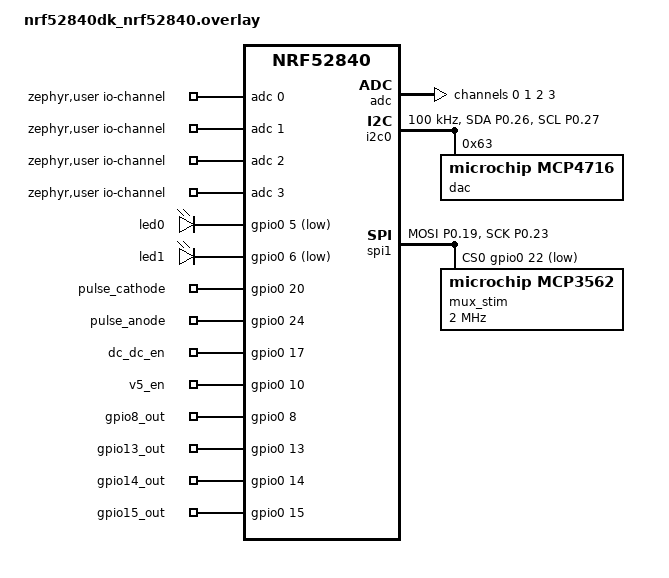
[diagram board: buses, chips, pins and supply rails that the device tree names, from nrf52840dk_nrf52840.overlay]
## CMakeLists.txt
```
# SPDX-License-Identifier: Apache-2.0

cmake_minimum_required(VERSION 3.20.0)

find_package(Zephyr REQUIRED HINTS $ENV{ZEPHYR_BASE})
project(Celavci)

FILE(GLOB app_sources src/*.c)
target_sources(app PRIVATE
  ${app_sources}
  )

# Dodaj include/ kao folder sa header fajlovima
target_include_directories(app PRIVATE include/)

zephyr_library_include_directories(${ZEPHYR_BASE}/samples/bluetooth)
```

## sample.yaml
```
sample:
  description: TBD
  name: TBD
tests:
  sample.bluetooth.peripheral_hr:
    harness: bluetooth
    platform_allow: qemu_cortex_m3 qemu_x86
    tags: bluetooth
  sample.bluetooth.peripheral_hr_rv32m1_vega_ri5cy:
    platform_allow: rv32m1_vega_ri5cy
    tags: bluetooth
    build_only: true
  sample.bluetooth.peripheral_hr.frdm_kw41z_shield:
    harness: bluetooth
    depends_on: arduino_serial
    tags: bluetooth
    extra_args: SHIELD=frdm_kw41z
```

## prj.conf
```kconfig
# ----------------------
# Bluetooth core support
# ----------------------
CONFIG_BT=y
CONFIG_BT_PERIPHERAL=y
CONFIG_BT_SMP=y

# ----------------------
# Bluetooth GATT services
# ----------------------
CONFIG_BT_NUS=y
CONFIG_BT_DIS=y
CONFIG_BT_DIS_PNP=n
CONFIG_BT_BAS=y
CONFIG_BT_HRS=y

CONFIG_ADC=y

# ----------------------
# Device information
# ----------------------
CONFIG_BT_DEVICE_NAME="BALDHEAD ZAPPER 5000"
CONFIG_BT_DEVICE_APPEARANCE=833

# ----------------------
# Bluetooth performance tuning
# ----------------------

# Maksimalni broj konekcija
CONFIG_BT_MAX_CONN=1

# Veći MTU za efikasniji prenos
CONFIG_BT_L2CAP_TX_MTU=247

# Veličina ACL buffer-a mora biti veća od MTU + 4
CONFIG_BT_BUF_ACL_TX_SIZE=251

# Broj TX buffera
CONFIG_BT_BUF_ACL_TX_COUNT=10

# Omogući GATT server/klijent
CONFIG_BT_GATT_CLIENT=y

# Omogući Data Length Extension
CONFIG_BT_USER_DATA_LEN_UPDATE=y

# Omogući PHY update (npr. 2M PHY ako je podržan)
CONFIG_BT_USER_PHY_UPDATE=y

# ----------------------
# Peripherals and drivers
# ----------------------
CONFIG_GPIO=y
CONFIG_I2C=y
CONFIG_SPI=y
CONFIG_ADC=n
CONFIG_NRFX_SAADC=y

CONFIG_FUEL_GAUGE=y
CONFIG_BQ274XX=y
CONFIG_SENSOR=y



# ----------------------
# Clock config (low-frequency)
# ----------------------
CONFIG_CLOCK_CONTROL_NRF_K32SRC_RC=y

# ----------------------
# Logging
# ----------------------
CONFIG_LOG=y
CONFIG_LOG_MODE_DEFERRED=y
CONFIG_LOG_BACKEND_RTT=y
CONFIG_USE_SEGGER_RTT=y
CONFIG_FATAL_ERROR_LOG_LEVEL_DBG=y


# Loging
CONFIG_LOG=y
CONFIG_LOG_DEFAULT_LEVEL=3        
CONFIG_LOG_MODE_DEFERRED=y      

# RTT backend
CONFIG_USE_SEGGER_RTT=y
CONFIG_LOG_BACKEND_RTT=y
CONFIG_RTT_CONSOLE=y
CONFIG_LOG_PRINTK=y              
CONFIG_CBPRINTF_FP_SUPPORT=y      

# (opciono: veći bafer da ne gubiš poruke)
CONFIG_SEGGER_RTT_BUFFER_SIZE_UP=16384
CONFIG_SEGGER_RTT_BUFFER_SIZE_DOWN=32


# ----------------------
# Disable UART (koristimo RTT)
# ----------------------
CONFIG_SERIAL=n
CONFIG_CONSOLE=n
CONFIG_UART_CONSOLE=n

# ----------------------
# Bootloader settings
# ----------------------
CONFIG_BOOTLOADER_MCUBOOT=y
# STEP 2.2 - Enable FOTA over Bluetooth LE
CONFIG_NCS_SAMPLE_MCUMGR_BT_OTA_DFU=y

# CONFIG_RETAINED_MEM=y
# CONFIG_ZCBOR=y
# CONFIG_MCUMGR=y
# Više threadova + debag info
CONFIG_MULTITHREADING=y
CONFIG_THREAD_STACK_INFO=y
CONFIG_THREAD_MONITOR=y
CONFIG_MAIN_THREAD_PRIORITY=1        

# Daj dovoljno preemptivnih prioriteta
CONFIG_NUM_PREEMPT_PRIORITIES=15


# Time-slicing da niko ne može da "pojede" CPU
CONFIG_TIMESLICING=y
CONFIG_ASSERT=y

CONFIG_MAIN_STACK_SIZE=2048
CONFIG_SYSTEM_WORKQUEUE_STACK_SIZE=2048
CONFIG_IDLE_STACK_SIZE=512
CONFIG_NRFX_TIMER2=y
CONFIG_NRFX_TIMER3=y
CONFIG_NRFX_GPPI=y        

CONFIG_PWM=y

CONFIG_PWM_NRFX=y
```

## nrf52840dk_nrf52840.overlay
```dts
#include <nordic/nrf52840_qiaa.dtsi>

/ {
    compatible = "nordic,nrf52840-dk-nrf52840";

    chosen {
        zephyr,console = &uart0;
        zephyr,shell-uart = &uart0;
    };

    zephyr,user {
        io-channels = <&adc 0>, <&adc 1>, <&adc 2>, <&adc 3>;
    };

    leds {
        compatible = "gpio-leds";
        led0: led_0 {
            gpios = <&gpio0 5 GPIO_ACTIVE_LOW>;
        };
        led1: led_1 {
            gpios = <&gpio0 6 GPIO_ACTIVE_LOW>;
        };
    };

    custom_gpio_out {
        compatible = "gpio-keys";  // Ako Zephyr ne očekuje output GPIO ovde, koristi kasnije u kodu ručno
        pulse_cathode: pulse_cathode {
            gpios = <&gpio0 20 GPIO_ACTIVE_HIGH>;
        };
        pulse_anode: pulse_anode {
            gpios = <&gpio0 24 GPIO_ACTIVE_HIGH>;
        };
        dc_dc_en: dc_dc_en {
            gpios = <&gpio0 17 GPIO_ACTIVE_HIGH>;
        };
        v5_en: v5_en {
            gpios = <&gpio0 10 GPIO_ACTIVE_HIGH>;
        };
        gpio8_out: gpio8_out {
            gpios = <&gpio0 8 GPIO_ACTIVE_HIGH>;
        };
        gpio13_out: gpio13_out {
            gpios = <&gpio0 13 GPIO_ACTIVE_HIGH>;
        };
        gpio14_out: gpio14_out {
            gpios = <&gpio0 14 GPIO_ACTIVE_HIGH>;
        };
        gpio15_out: gpio15_out {
            gpios = <&gpio0 15 GPIO_ACTIVE_HIGH>;
        };
    };

    aliases {
        led0 = &led0;
        led1 = &led1;
        pulse-cathode = &pulse_cathode;
        pulse-anode = &pulse_anode;
        dc-dc-en = &dc_dc_en;
        v5-en = &v5_en;

        gpio8-out = &gpio8_out;
        gpio13-out = &gpio13_out;
        gpio14-out = &gpio14_out;
        gpio15-out = &gpio15_out;

        i2c0 = &i2c0;
    };
};

&adc {
    status = "okay";
    #address-cells = <1>;
    #size-cells = <0>;

    channel@0 {
        reg = <0>;
        zephyr,gain = "ADC_GAIN_1_6";
        zephyr,reference = "ADC_REF_INTERNAL";
        zephyr,acquisition-time = <ADC_ACQ_TIME_DEFAULT>;
        zephyr,input-positive = <NRF_SAADC_AIN0>;  // P0.02
        zephyr,resolution = <12>;
    };

    channel@1 {
        reg = <1>;
        zephyr,gain = "ADC_GAIN_1_6";
        zephyr,reference = "ADC_REF_INTERNAL";
        zephyr,acquisition-time = <ADC_ACQ_TIME_DEFAULT>;
        zephyr,input-positive = <NRF_SAADC_AIN2>;  // P0.04
        zephyr,resolution = <12>;
    };

    channel@2 {
        reg = <2>;
        zephyr,gain = "ADC_GAIN_1_6";
        zephyr,reference = "ADC_REF_INTERNAL";
        zephyr,acquisition-time = <ADC_ACQ_TIME_DEFAULT>;
        zephyr,input-positive = <NRF_SAADC_AIN5>;  // P0.29
        zephyr,resolution = <12>;
    };

    channel@3 {
        reg = <3>;
        zephyr,gain = "ADC_GAIN_1_6";
        zephyr,reference = "ADC_REF_INTERNAL";
        zephyr,acquisition-time = <ADC_ACQ_TIME_DEFAULT>;
        zephyr,input-positive = <NRF_SAADC_AIN7>;  // P0.31
        zephyr,resolution = <12>;
    };
};

&pinctrl {
    i2c0_default: i2c0_default {
        group1 {
            psels = <NRF_PSEL(TWIM_SDA, 0, 26)>,
                    <NRF_PSEL(TWIM_SCL, 0, 27)>;
        };
    };

    i2c0_sleep: i2c0_sleep {
        group1 {
            psels = <NRF_PSEL(TWIM_SDA, 0, 26)>,
                    <NRF_PSEL(TWIM_SCL, 0, 27)>;
            low-power-enable;
        };
    };

    spi1_default: spi1_default {
        group1 {
            psels = <NRF_PSEL(SPIM_MOSI, 0, 19)>,
                    <NRF_PSEL(SPIM_SCK, 0, 23)>;
        };
    };

    spi1_sleep: spi1_sleep {
        group1 {
            psels = <NRF_PSEL(SPIM_MOSI, 0, 19)>,
                    <NRF_PSEL(SPIM_SCK, 0, 23)>;
            low-power-enable;
        };
    };
};

&i2c0 {
    compatible = "nordic,nrf-twim";
    status = "okay";
    pinctrl-0 = <&i2c0_default>;
    pinctrl-1 = <&i2c0_sleep>;
    pinctrl-names = "default", "sleep";
    clock-frequency = <I2C_BITRATE_STANDARD>;

    dac@63 {
        compatible = "microchip,mcp4716";
        reg = <0x63>;
        status = "okay";
        #io-channel-cells = <1>;
    };
    
};


/* MULTIPLEXER */
&spi1 {
    compatible = "nordic,nrf-spim";
    status = "okay";
    pinctrl-0 = <&spi1_default>;
    pinctrl-1 = <&spi1_sleep>;
    pinctrl-names = "default", "sleep";
    cs-gpios = <&gpio0 22 GPIO_ACTIVE_LOW>;
    mux_stim: hv2607@0 {
        compatible = "microchip,mcp3562";
        reg = <0>;
        spi-max-frequency = <2000000>;
    };
};

&gpio0 {
    status = "okay";
};

&gpiote {
    status = "okay";
};
```

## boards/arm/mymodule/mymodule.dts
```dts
// Copyright (c) 2023 Nordic Semiconductor ASA
// SPDX-License-Identifier: Apache-2.0

/dts-v1/;
#include <nordic/nrf52840_qiaa.dtsi>

/ {
    model = "myModule";
    compatible = "mymodules";

    chosen {
        zephyr,sram = &sram0;
        zephyr,flash = &flash0;
        zephyr,code-partition = &slot0_partition;
    };

    leds {
        compatible = "gpio-leds";
        led_green: led_green { gpios = <&gpio0  2 GPIO_ACTIVE_LOW>; };
        led_blue:  led_blue  { gpios = <&gpio0  3 GPIO_ACTIVE_LOW>; };
        led_red:   led_red   { gpios = <&gpio0 30 GPIO_ACTIVE_LOW>; };
        led3: led_3 { status = "disabled"; };
    };

    /* Ostali korisni izlazi (kao GPIO reference za kod) */
    custom_gpio_out {
        compatible = "gpio-leds";  /* izlazi, ne 'gpio-keys' */
        pulse_cathode: pulse_cathode { gpios = <&gpio0  7 GPIO_ACTIVE_HIGH>; };
        pulse_anode:   pulse_anode   { gpios = <&gpio0 15 GPIO_ACTIVE_HIGH>; };
        dc_dc_en:      dc_dc_en      { gpios = <&gpio0  4 GPIO_ACTIVE_HIGH>; };

        /* PB_MCU (simulira pritisak tastera) i KILL ka LTC2950 */
        pb_mcu:        pb_mcu        { gpios = <&gpio0 29 GPIO_ACTIVE_LOW>; };
        kill_ltc2950:  kill          { gpios = <&gpio0  9 GPIO_ACTIVE_LOW>; };

        /* NAPOMENA: P0.28 je sada PWM (CH1), zato nema više 'buzz' kao GPIO ovde */
    };

    aliases {
        led0 = &led_green;
        led1 = &led_blue;
        led2 = &led_red;

        pulse-cathode = &pulse_cathode;
        pulse-anode   = &pulse_anode;
        dc-dc-en      = &dc_dc_en;

        pb-mcu = &pb_mcu;
        kill   = &kill_ltc2950;

        i2c0 = &i2c0;

        /* PWM kontroler i potrošač */
        pwm0 = &pwm0;
        buzzer-pwm = &pwm_buzzer;
    };

    /* Opcioni "beeper" potrošač vezan na PWM0/CH0 (P0.31) – default ~500 Hz */
    pwm_buzzer: buzzer {
        compatible = "pwm-beeper";
        pwms = <&pwm0 0 PWM_MSEC(2) PWM_POLARITY_NORMAL>; /* ~500 Hz */
        label = "BUZZER_PWM0";
    };
};

&pinctrl {
    i2c0_default: i2c0_default {
        group1 {
            psels = <NRF_PSEL(TWIM_SDA, 0, 26)>,
                    <NRF_PSEL(TWIM_SCL, 0, 27)>;
        };
    };

    i2c0_sleep: i2c0_sleep {
        group1 {
            psels = <NRF_PSEL(TWIM_SDA, 0, 26)>,
                    <NRF_PSEL(TWIM_SCL, 0, 27)>;
            low-power-enable;
        };
    };

    spi1_default: spi1_default {
        group1 {
            psels = <NRF_PSEL(SPIM_MOSI, 0, 6)>,
                    <NRF_PSEL(SPIM_SCK, 0, 8)>;
        };
    };

    spi1_sleep: spi1_sleep {
        group1 {
            psels = <NRF_PSEL(SPIM_MOSI, 0, 6)>,
                    <NRF_PSEL(SPIM_SCK, 0, 8)>;
            low-power-enable;
        };
    };

        /* PWM0: CH0 -> P0.31 (ostaje) */
    pwm0_default: pwm0_default {
        group1 { psels = <NRF_PSEL(PWM_OUT0, 0, 31)>; };
    };
    pwm0_sleep: pwm0_sleep {
        group1 {
            psels = <NRF_PSEL(PWM_OUT0, 0, 31)>;
            low-power-enable;
        };
    };

    /* NOVO: PWM1: CH0 -> P0.28 */
    pwm1_default: pwm1_default {
        group1 { psels = <NRF_PSEL(PWM_OUT0, 0, 28)>; };
    };
    pwm1_sleep: pwm1_sleep {
        group1 {
            psels = <NRF_PSEL(PWM_OUT0, 0, 28)>;
            low-power-enable;
        };
    };
};

&i2c0 {
    compatible = "nordic,nrf-twim";
    status = "okay";
    pinctrl-0 = <&i2c0_default>;
    pinctrl-1 = <&i2c0_sleep>;
    pinctrl-names = "default", "sleep";
    clock-frequency = <I2C_BITRATE_STANDARD>;

    dac@63 {
        compatible = "microchip,mcp4716";
        reg = <0x63>;
        status = "okay";
        #io-channel-cells = <1>;
    };

    fuelgauge: bq27220@55 {
        compatible = "ti,bq274xx";
        reg = <0x55>;
        status = "okay";
        design-voltage = <3700>;      /* mV */
        design-capacity = <2200>;     /* mAh */
        taper-current = <100>;        /* mA */
        terminate-voltage = <3200>;   /* mV */
    };
};

/* MULTIPLEXER (SPIM1 bez MISO) */
&spi1 {
    compatible = "nordic,nrf-spim";
    status = "okay";
    pinctrl-0 = <&spi1_default>;
    pinctrl-1 = <&spi1_sleep>;
    pinctrl-names = "default", "sleep";
    cs-gpios = <&gpio0 1 GPIO_ACTIVE_LOW>;
    mux_stim: hv2607@0 {
        compatible = "microchip,mcp3562"; /* ostavljeno kako je bilo */
        reg = <0>;
        spi-max-frequency = <2000000>;
    };
};



&pwm0 {
    status = "okay";
    pinctrl-0 = <&pwm0_default>;
    pinctrl-1 = <&pwm0_sleep>;
    pinctrl-names = "default", "sleep";
};

&pwm1 {
    status = "okay";
    pinctrl-0 = <&pwm1_default>;
    pinctrl-1 = <&pwm1_sleep>;
    pinctrl-names = "default", "sleep";
};


/* GPIO and GPIOTE */
&gpio0 { status = "okay"; };
&gpiote { status = "okay"; };

/* Flash Partition Layout */
&flash0 {
    partitions {
        compatible = "fixed-partitions";
        #address-cells = <1>;
        #size-cells = <1>;

        boot_partition: partition@0        { label = "mcuboot";        reg = <0x00000 0x0C000>; };
        slot0_partition: partition@c000    { label = "image-0";        reg = <0x0C000 0x72000>; };
        slot1_partition: partition@7e000   { label = "image-1";        reg = <0x7E000 0x72000>; };
        scratch_partition: partition@f0000 { label = "image-scratch";  reg = <0xF0000 0x0A000>; };
        storage_partition: partition@fa000 { label = "storage";        reg = <0xFA000 0x06000>; };
    };
};
```

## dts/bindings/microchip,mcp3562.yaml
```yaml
description: ADC driver
compatible: "microchip,mcp3562"
include: spi-device.yaml
```

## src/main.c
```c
/* main.c - Application main entry point */

/*
 * Copyright (c) 2015-2023 Intel Corporation
 * and Nordic Semiconductor ASA
 *
 * SPDX-License-Identifier: Apache-2.0
 */

#include <zephyr/types.h>
#include <stddef.h>
#include <string.h>
#include <errno.h>

#include <zephyr/kernel.h>
#include <zephyr/sys/printk.h>
#include <zephyr/sys/byteorder.h>
#include <zephyr/logging/log.h>

#include <zephyr/drivers/gpio.h>
#include <zephyr/drivers/i2c.h>

#include <zephyr/bluetooth/bluetooth.h>
#include <zephyr/bluetooth/hci.h>
#include <zephyr/bluetooth/conn.h>
#include <zephyr/bluetooth/uuid.h>
#include <zephyr/bluetooth/gatt.h>
#include <zephyr/bluetooth/services/bas.h>
#include <zephyr/bluetooth/services/hrs.h>

#include "impulse.h"
#include "ble_nus.h"
#include "dac.h"
#include "mux.h"
#include "fuel_gauge.h"
#include "nrfx_adc.h"
#include "pwm.h"  /* <<--- NOVO: naš PWM modul */

LOG_MODULE_REGISTER(main, LOG_LEVEL_DBG);

/* ===================== MUX config ===================== */
struct mux_config stim_mux_config = {
    .spi_dev      = STIM_MUX_SPI_DEV,
    .gpio_dev     = STIM_MUX_GPIO_DEV,
    .le_pin       = STIM_MUX_LE_PIN,
    .clr_pin      = STIM_MUX_CLR_PIN,
    .num_channels = STIM_MUX_NUM_CHANNELS
};

/* ===================== GPIO DT refs ===================== */
static const struct gpio_dt_spec led0   = GPIO_DT_SPEC_GET(DT_ALIAS(led0), gpios);
const struct gpio_dt_spec        kill   = GPIO_DT_SPEC_GET(DT_ALIAS(kill), gpios);
const struct gpio_dt_spec        pb_mcu = GPIO_DT_SPEC_GET(DT_ALIAS(pb_mcu), gpios);

/* Ovi pinovi su deklarisani u drugim modulima */
extern const struct gpio_dt_spec pulse_cathode;
extern const struct gpio_dt_spec pulse_anode;
extern const struct gpio_dt_spec dc_dc_en;

/* ===================== GPIO init ===================== */
static int init_gpios(void)
{
    int ret;

    if (!device_is_ready(pulse_cathode.port) ||
        !device_is_ready(pulse_anode.port)   ||
        !device_is_ready(dc_dc_en.port)) {
        printk("One of pulse GPIO devices not ready\n");
        return -ENODEV;
    }

    ret = gpio_pin_configure_dt(&pulse_cathode, GPIO_OUTPUT_INACTIVE);
    if (ret) return ret;

    ret = gpio_pin_configure_dt(&pulse_anode, GPIO_OUTPUT_INACTIVE);
    if (ret) return ret;

    ret = gpio_pin_configure_dt(&dc_dc_en, GPIO_OUTPUT_INACTIVE);
    if (ret) return ret;

    return 0;
}

#include <hal/nrf_power.h>
static void log_reset_reason(void)
{
    uint32_t reas = nrf_power_resetreas_get(NRF_POWER);

    if (reas & POWER_RESETREAS_RESETPIN_Msk) LOG_INF("Reset: pin reset");
    if (reas & POWER_RESETREAS_DOG_Msk)      LOG_INF("Reset: watchdog");
    if (reas & POWER_RESETREAS_SREQ_Msk)     LOG_INF("Reset: soft reset");
    if (reas & POWER_RESETREAS_LOCKUP_Msk)   LOG_INF("Reset: CPU lockup");
    if (reas & POWER_RESETREAS_OFF_Msk)      LOG_INF("Reset: wakeup from OFF");
    if (reas & POWER_RESETREAS_LPCOMP_Msk)   LOG_INF("Reset: LPCOMP event");

    nrf_power_resetreas_clear(NRF_POWER, reas);
}

/* ===================== main ===================== */
void main(void)
{
    int err;

    log_reset_reason();

    /* --- LED/KILL/PB inicijalizacija pre upotrebe --- */
    if (!device_is_ready(led0.port)) {
        printk("LED0 device not ready\n");
        return;
    }
    if (!device_is_ready(kill.port) || !device_is_ready(pb_mcu.port)) {
        printk("KILL/PB_MCU device not ready\n");
        return;
    }

    (void)gpio_pin_configure_dt(&led0, GPIO_OUTPUT_INACTIVE);
    (void)gpio_pin_configure_dt(&kill, GPIO_OUTPUT_INACTIVE);
    (void)gpio_pin_configure_dt(&pb_mcu, GPIO_OUTPUT_INACTIVE);

    gpio_pin_set_dt(&kill, 0);   /* enable kroz LTC2950 (active-low linija) */
    gpio_pin_set_dt(&pb_mcu, 0); /* PB_MCU neaktivan */
/* Mora biti pre ble_nus_init() */
    if (impulse_init() != 0) {
        printk("Impulse init failed!\n");
        return -1;
    }

    /* --- Ostali GPIO pinovi (stim) --- */
    if (init_gpios() != 0) {
        printk("GPIO initialization failed!\n");
        return;
    }

    /* Signal da je sistem "živ" */
    gpio_pin_set_dt(&led0, 1);

    /* --- DC-DC --- */
    gpio_pin_set_dt(&dc_dc_en, 1);
    printk("DC-DC converter enabled\n");
    k_sleep(K_MSEC(100));

    /* --- BLE --- */
    err = ble_nus_init();
    if (err) {
        printk("BLE initialization failed (%d)\n", err);
        return;
    }

    /* --- DAC --- */
    dac_init();
    dac_set_value(80); /* Default */

    /* --- MUX --- */
    mux_init(&stim_mux_config);

    /* --- Fuel Gauge --- */
    bq27220_init();

    /* --- (Opcionalno) SAADC lanac --- */
    // start_nrfx_adc();

    /* --- PWM modul (pwm.c) --- */
    if (pwm_ctrl_init() != 0) {
        printk("PWM init failed\n");
        return;
    }

    // /* Demo: upali oba kanala na 5 s */
    pwm_ch0_start();  /* PWM0/CH0 → P0.31, 10 kHz @ 40% (definisano u pwm.c) */
    // pwm_ch1_start();  /* PWM1/CH0 → P0.28, 8 kHz @ 1%   (definisano u pwm.c) */

    k_sleep(K_SECONDS(1));

    pwm_ch0_stop();
    // pwm_ch1_stop();

    /* --- Glavna petlja --- */
    while (1) {
        k_sleep(K_FOREVER);
    }
}
```

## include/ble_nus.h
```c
#ifndef BLE_NUS_H
#define BLE_NUS_H

#include <zephyr/kernel.h>
#include <zephyr/bluetooth/bluetooth.h>
#include <zephyr/bluetooth/hci.h>
#include <bluetooth/services/nus.h>

#ifdef __cplusplus
extern "C" {
#endif

/** @brief Global variables used for stimulation configuration. */
extern volatile uint8_t amplitude;     /**< Stimulation amplitude (1–30). */
extern uint8_t frequency;              /**< Stimulation frequency (1–40 Hz). */
extern uint8_t pulse_width;            /**< Pulse width in units (1–10). */
extern uint8_t temperature;            /**< Heating temperature (25–42 °C). */
extern uint8_t stim_state;             /**< Stimulation state (0–3). */
extern uint8_t RCE;
/* NOVO: Impulse integration flag */
extern bool impulse_initialized;
extern uint8_t new_frequency;  /**< Flag indicating if frequency was updated. */

extern bool stimulation_running;  /**< Indicates if stimulation is active. */

/**
 * @brief Callback called when BLE stack is ready.
 *
 * @param err Error code (0 if successful).
 */
void bt_ready(int err);

/**
 * @brief Callback triggered when a BLE connection is established.
 *
 * @param conn Pointer to the active BLE connection.
 * @param err Error code during connection (0 if successful).
 */
void connected(struct bt_conn *conn, uint8_t err);

/**
 * @brief Callback triggered when a BLE connection is terminated.
 *
 * @param conn Pointer to the BLE connection.
 * @param reason Reason for disconnection.
 */
void disconnected(struct bt_conn *conn, uint8_t reason);

/**
 * @brief Initializes the BLE stack and the Nordic UART Service (NUS).
 *
 * Initializes Bluetooth, registers all relevant callbacks, and starts the NUS service.
 *
 * @return 0 if successful, otherwise a negative error code.
 */
int ble_nus_init(void);

/**
 * @brief Sends a response message over the Nordic UART Service (NUS).
 *
 * @param msg Null-terminated string message to send.
 */
void send_response(const char *msg);



static void process_command(const uint8_t *data, uint16_t len);

#ifdef __cplusplus
}
#endif

#endif // BLE_NUS_H
```

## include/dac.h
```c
/**
 * @file dac.h
 * @brief I2C upravljanje eksternim 10‑bitnim DAC‑om.
 *
 * API obezbeđuje inicijalizaciju I2C magistrale i upis 10‑bitne vrednosti
 * (0–1023) u DAC izlazni registar.
 */

#ifndef DAC_H
#define DAC_H

#include <zephyr/kernel.h>
#include <zephyr/device.h>
#include <zephyr/drivers/i2c.h>

/**
 * @def DAC_ADDR
 * @brief I2C adresa DAC uređaja.
 */
#define DAC_ADDR 0x63

#ifdef __cplusplus
extern "C" {
#endif

/**
 * @brief Inicijalizuje I2C i priprema DAC za rad.
 *
 * @retval 0  Uspeh.
 * @retval <0 Negativan errno kod (npr. uređaj nije spreman).
 */
int dac_init(void);

/**
 * @brief Postavlja 10‑bitnu vrednost na DAC izlazu.
 *
 * @param value Vrednost 0–1023 (višak se seče na opseg).
 *
 * @note Funkcija ne blokira duže od I2C transfera.
 */
void dac_set_value(uint16_t value);

#ifdef __cplusplus
}
#endif

#endif /* DAC_H */
```

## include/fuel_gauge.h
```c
#pragma once
#include <zephyr/device.h>
#include <zephyr/drivers/i2c.h>

void bq27220_init(void);
void bq27220_read_basic(void);   /* šalje preko BLE: mV, %, °C, mA */
void i2c_scan_all(void);
int fuel_gauge_get_soc(uint16_t *soc);
```

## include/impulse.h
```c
/**
 * @file impulse.h
 * @brief Generisanje bifaznih (bipolarnih) stimulacionih impulsa preko GPIO i MUX.
 *
 * @details
 * Ovaj modul implementira **napredni stroj stanja** (state machine) koji u pravilnom redosledu
 * upravlja izlazima *anode* i *katode* (GPIO) i istovremeno sekvencira uzorke (pattern)
 * na analognom multiplekseru (MUX) radi adresiranja kanala stimulacije.
 *
 * ### NOVA POBOLJŠANJA U VERZIJI 2.0
 * - **Thread Pool Pattern**: Eliminiše memory leaks, thread se kreira jednom
 * - **Thread-Safe Design**: Atomske operacije, race condition protection
 * - **Robusan Error Handling**: Centralizovano upravljanje greškama sa auto-recovery
 * - **Hardware Watchdog**: Automatska detekcija i oporavak od zaglavljenih stanja
 * - **Performance Monitoring**: Real-time statistike za debugging i optimizaciju
 * - **Bezbedni Timing**: Overflow protection i sanity checks
 * - **Production Ready**: Sve identifikovane probleme rešene
 *
 * ### Pregled funkcionalnosti
 * - Inicijalizacija izlaznih pinova: **anoda**, **katoda**, **DC-DC enable**;
 * - Generisanje **bifaznog** impulsa: faza *anode ON* → faza *katode ON* → pauza;
 * - Nakon svakog kompletnog impulsa, **MUX** dobija sledeći pattern (2 bajta) da bi se ciklično
 *   izabrali naredni kanali (npr. 0x01, 0x02, 0x04, ... 0x80);
 * - Period ponavljanja sekvence zavisi od zadate **frekvencije** (podešava se preko BLE komandnog sloja).
 * - **Thread-safe komunikacija** između BLE i impulse thread-a.
 *
 * ### Tajming i definicije
 * - Širina pojedinačne faze impulsa određena je makroom #STIMULATION_PULSE_WIDTH_US
 *   i množi se internim parametrom `pulse_width` (vidi BLE NUS komande).
 *   Efektivno trajanje jedne faze:  `T_phase = STIMULATION_PULSE_WIDTH_US * pulse_width` (µs).
 * - Jedan kompletan **bifazni** impuls sadrži dve faze (anoda → katoda) i pauzu,
 *   pa minimalni impuls bez pauze traje približno `2 * T_phase`.
 * - Period pobude računamo iz frekvencije: @ref hz_to_us(frequency_hz) (µs).
 *   U okviru implementacije se nakon svake sekvence raspoređuje sledeće aktiviranje work‑a
 *   tako da se poštuje zadati period (frekvencija).
 *
 * ### Stanja mašine (interno u .c)
 * - **IMPULSE_IDLE**: sistem u mirovanju, spreman za pokretanje
 * - **IMPULSE_RUNNING**: aktivna stimulacija u toku
 * - **IMPULSE_STOPPING**: graceful shutdown u toku
 *
 * ### Bezbednosne napomene
 * - Anoda i katoda **nikada** ne treba da budu istovremeno aktivne (shoot‑through). Implementacija
 *   obezbeđuje međufaze sa oba pina na 0 pre prelaza.
 * - Pre startovanja sekvence uveriti se da je **DC‑DC** napajanje omogućeno i stabilno.
 * - MUX patterni treba da budu usaglašeni sa stvarnim ožičenjem; pogrešan uzorak može premostiti
 *   neočekivane kanale.
 * - **Hardware watchdog** automatski detektuje i oporavlja sistem od grešaka.
 *
 * ### Konkurentnost / okruženje
 * - Modul koristi **k_work_delayable** (workqueue) – pozivi API‑ja su *thread‑context* bezbedni.
 * - @ref start_pulse_sequence i @ref stop_pulse_sequence su **idempotentni** i **thread-safe**.
 * - Koriste se **atomske operacije** za thread-safe komunikaciju.
 * - **Thread pool pattern** eliminiše memory leaks i poboljšava performance.
 *
 * ### Performance karakteristike
 * - **Timing precision**: ±1µs (k_busy_wait)
 * - **Thread safety**: Atomske operacije, bez race conditions
 * - **Error recovery**: Automatski oporavak od hardware grešaka
 * - **Memory efficiency**: Nema memory leaks, stack reuse
 * - **Real-time performance**: High-priority thread (PRIO 6)
 * - **Hardware watchdog**: 1s timeout sa auto-recovery
 *
 * @note Parametri kao što su `pulse_width`, `frequency` i MUX pattern niz definišu se u drugim
 *       modulima (npr. BLE NUS komandama i u `impulse.c`). Ovaj header izlaže javni API.
 *
 * @author Celavci Team
 * @version 2.0
 * @date 2025
 */

#ifndef IMPULSE_H
#define IMPULSE_H

#include <zephyr/types.h>
#include <stddef.h>
#include <string.h>
#include <errno.h>
#include <zephyr/sys/printk.h>
#include <zephyr/sys/byteorder.h>
#include <zephyr/kernel.h>
#include <zephyr/drivers/gpio.h>
#include <zephyr/drivers/i2c.h>

/**
 * @def STIMULATION_PULSE_WIDTH_US
 * @brief Osnovna širina pojedinačne faze impulsa (µs).
 *
 * @details
 * Efektivna širina faze = `STIMULATION_PULSE_WIDTH_US * pulse_width`.
 * Vrednost `pulse_width` podešava se u BLE komandama (vidi `PW`).
 */
#define STIMULATION_PULSE_WIDTH_US 1 // Optimizovano za aplikaciju

/* === API KONSTANTE === */

/**
 * @def MAX_PATTERNS
 * @brief Maksimalan broj pattern-a koji se mogu učitati u memoriju
 */
#define MAX_PATTERNS 16

/**
 * @def PATTERN_LEN
 * @brief Broj kanala po pattern-u (8 channel pairs)
 */
#define PATTERN_LEN 8

/**
 * @def MAX_AMPLITUDE_UA
 * @brief Maksimalna amplitude po kanalu (µA)
 */
#define MAX_AMPLITUDE_UA 2000

/**
 * @def MIN_AMPLITUDE_UA
 * @brief Minimalna amplitude po kanalu (µA)
 */
#define MIN_AMPLITUDE_UA 5

/* === GLOBALNE VARIJABLE === */

/**
 * @brief Per-channel amplitude konfiguracija (µA)
 * 
 * @details Array od 8 elemenata koji definiše amplitude za svaki kanal par.
 * Vrednosti su u mikroamperima (µA) i ograničene su na MIN_AMPLITUDE_UA do MAX_AMPLITUDE_UA.
 * Thread-safe pristup kroz BLE komande.
 */
extern volatile uint16_t pair_amplitude_uA[8];

/**
 * @brief Maksimalno trajanje stimulacione sesije (sekunde)
 * 
 * @details Timer automatski zaustavlja stimulaciju nakon ovog vremena.
 * Default: 1800s (30 minuta). Thread-safe.
 */
extern volatile uint32_t stim_duration_s;

/**
 * @brief Pattern storage - 2D array pattern definicija
 * 
 * @details
 * - pulse_patterns[pattern_idx][channel_idx] = channel_mask
 * - pattern_idx: 0 do (MAX_PATTERNS-1) 
 * - channel_idx: 0 do (PATTERN_LEN-1)
 * - channel_mask: 16-bit vrednost za MUX kontrolu
 */
extern uint16_t pulse_patterns[MAX_PATTERNS][PATTERN_LEN];

/**
 * @brief Broj trenutno učitanih pattern-a
 * 
 * @details Thread-safe pristup. Maximum = MAX_PATTERNS.
 */
extern volatile size_t patterns_count;

/**
 * @brief Indeks trenutno aktivnog pattern-a
 * 
 * @details 
 * Thread-safe pristup kroz BLE SP komandu.
 * Mora biti < patterns_count, inače se koristi pattern 0.
 */
extern volatile size_t number_patter;

/* === DEVICETREE ALIASI === */
#define PULSE_CATHODE_NODE DT_ALIAS(pulse_cathode)
#define PULSE_ANODE_NODE   DT_ALIAS(pulse_anode)
#define DC_DC_EN_NODE      DT_ALIAS(dc_dc_en)

/** @name GPIO specifikacije (popunjene u .c iz DT aliasa)
 *  @{
 */
/** GPIO pin specifikacija za katodu. */
extern const struct gpio_dt_spec pulse_cathode;
/** GPIO pin specifikacija za anodu. */
extern const struct gpio_dt_spec pulse_anode;
/** GPIO pin za uključivanje DC‑DC konvertora. */
extern const struct gpio_dt_spec dc_dc_en;
/** @} */

/**
 * @brief Globalna MUX konfiguracija koju koristi sekvencer impulsa.
 *
 * @details
 * `stim_mux_config` se inicijalizuje u `main.c` (npr. izbor SPI i GPIO uređaja,
 * LE/CLR pinova i broja kanala). Implementacija impulsa koristi ovu instancu
 * prilikom slanja pattern‑a u MUX.
 */
extern struct mux_config stim_mux_config;

#ifdef __cplusplus
extern "C" {
#endif

/* === CORE API FUNCTIONS === */

/**
 * @brief Inicijalizuje impulse subsystem (NOVO u v2.0)
 * 
 * @details
 * - Kreira thread pool (thread se pravi jednom i nikad ne briše)
 * - Inicijalizuje semafore, timers, work queue
 * - Postavlja početno stanje sistema
 * - **MORA SE POZVATI JEDNOM iz main() pre korišćenja bilo koje druge funkcije**
 * 
 * @retval 0 Uspešna inicijalizacija
 * @retval -ENODEV Hardware greška (GPIO/SAADC)
 * @retval -ENOMEM Memory allocation greška
 * @retval -ETIME Thread startup timeout
 * 
 * @note Thread-safe, može se pozvati više puta (idempotentno)
 */
int impulse_init(void);

/**
 * @brief Startuje generisanje bifaznog stimulacionog impulsa.
 *
 * @details
 * - **Thread-safe**: Koristi atomske operacije za state management
 * - Ako sekvenca već traje, poziv nema efekta (idempotentno).
 * - Postavlja inicijalni pattern na MUX (iz aktivnog pattern-a),
 * - Resetuje brojač pulseva/pattern‑indeks,
 * - Signalizira thread-u da počne stimulaciju
 * - Aktivira session timer (auto-stop nakon stim_duration_s)
 * - Uključuje DC-DC napajanje
 *
 * @note Očekuje se da je @ref impulse_init već uspešno pozvan.
 * 
 * @warning Ne blokira - vraća se odmah. Stimulacija se izvršava u background thread-u.
 */
void start_pulse_sequence(void);

/**
 * @brief Zaustavlja generisanje impulsa i gasi izlaze.
 *
 * @details
 * - **Thread-safe**: Koristi atomske operacije
 * - Signalizira thread-u da prestane sa radom
 * - Otkaže session timer
 * - Postavlja anodu i katodu na 0 (bezbedno stanje)
 * - Isključuje DC-DC napajanje
 * - Poziv je bezbedan i kada sekvenca već nije aktivna (idempotentno)
 * - Generiše BLE response ("STOPPED")
 */
void stop_pulse_sequence(void);

/**
 * @brief Notifikuje impulse thread o promeni frekvencije (NOVO u v2.0)
 * 
 * @details
 * Thread-safe način da se signalizira promjena frekvencije.
 * Impulse thread će resetovati burst scheduling na sledeći ciklus.
 * 
 * @note Poziva se automatski iz BLE NUS kada se primi SF komanda.
 */
void notify_frequency_changed(void);

/* === UTILITY FUNCTIONS === */

/**
 * @brief Pretvara frekvenciju u period sa overflow protection (POBOLJŠANO u v2.0)
 *
 * @param frequency_hz Frekvencija u Hz. Ako je 0, vraća 0.
 * @return Period u mikrosekundama (µs).
 *
 * @details 1 s = 1 000 000 µs. Račun je celobrojni, tj. `1e6 / f`.
 * **NOVO**: Dodata overflow protection za frekvencije > 1MHz.
 */
uint32_t hz_to_us(uint32_t frequency_hz);

/* === CONTACT DETECTION API === */

/**
 * @brief Šalje poslednji burst rezultat preko BLE (thread-safe)
 * 
 * @details
 * Čita poslednju kompletnu burst sekvencu (8 impulsa) iz SAADC modula
 * i šalje rezultat kao ">RCE;mask<" preko BLE NUS servisa.
 * 
 * @note Thread-safe, može se pozvati iz bilo kog konteksta.
 */
void report_last_burst(void);

/* === PERFORMANCE MONITORING API (NOVO u v2.0) === */

/**
 * @brief Vraća trenutne performance statistike
 * 
 * @param[out] pulses Total broj generisanih impulsa (može biti NULL)
 * @param[out] errors Total broj grešaka (MUX + DAC) (može biti NULL)  
 * @param[out] recoveries Broj izvršenih automatskih recovery-ja (može biti NULL)
 * 
 * @details
 * Thread-safe pristup performance counter-ima.
 * Korisno za debugging, monitoring kvaliteta servisa i analizu.
 * 
 * @note Counters se resetuju pri svakom start_pulse_sequence().
 */
void get_performance_stats(uint32_t *pulses, uint32_t *errors, uint32_t *recoveries);

/* === ADVANCED API (Opciono za napredne korisnike) === */

/**
 * @brief Vraća trenutno stanje impulse state machine-a
 * 
 * @retval 0 IMPULSE_IDLE - sistem u mirovanju
 * @retval 1 IMPULSE_RUNNING - aktivna stimulacija  
 * @retval 2 IMPULSE_STOPPING - graceful shutdown u toku
 * 
 * @note Thread-safe, atomska operacija.
 */
int get_impulse_state(void);

/**
 * @brief Vraća broj impulsa generisanih u trenutnoj sesiji
 * 
 * @return Broj impulsa (atomska operacija)
 * 
 * @note Thread-safe, reset na svaki start_pulse_sequence().
 */
uint32_t get_pulse_counter(void);

/* === ERROR HANDLING TYPES === */

/**
 * @brief Error códovi specifični za impulse modul
 */
typedef enum {
    IMPULSE_ERROR_NONE = 0,           /**< Nema grešaka */
    IMPULSE_ERROR_NOT_INITIALIZED,    /**< impulse_init() nije pozvan */
    IMPULSE_ERROR_HARDWARE_FAILURE,   /**< GPIO/SAADC greška */
    IMPULSE_ERROR_MUX_FAILURE,        /**< SPI MUX komunikacija neuspešna */
    IMPULSE_ERROR_DAC_FAILURE,        /**< I2C DAC komunikacija neuspešna */
    IMPULSE_ERROR_TIMING_VIOLATION,   /**< Timing constraint prekršen */
    IMPULSE_ERROR_PATTERN_INVALID,    /**< Pattern indeks van opsega */
    IMPULSE_ERROR_AMPLITUDE_INVALID,  /**< Amplitude van dozvoljenog opsega */
    IMPULSE_ERROR_WATCHDOG_TIMEOUT    /**< Hardware watchdog timeout */
} impulse_error_t;

/**
 * @brief Callback tip za error notifications (opciono)
 * 
 * @param error_code Tip greške
 * @param context Dodatne informacije o grešci (može biti NULL)
 */
typedef void (*impulse_error_callback_t)(impulse_error_t error_code, const char *context);

/**
 * @brief Registruje callback za error notifications (NOVO u v2.0)
 * 
 * @param callback Funkcija koja će biti pozvana pri grešci (NULL = disable)
 * 
 * @details
 * Omogućava aplikaciji da reaguje na greške u real-time.
 * Thread-safe, callback se poziva iz work queue konteksta.
 */
void impulse_set_error_callback(impulse_error_callback_t callback);

/* === DIAGNOSTICS API (NOVO u v2.0) === */

/**
 * @brief Vraća detaljne diagnostike sistema
 * 
 * @param[out] info Struktura sa diagnostic informacijama
 * @retval 0 Uspeh
 * @retval -EINVAL info je NULL
 * 
 * @note Thread-safe
 */
typedef struct {
    uint32_t total_pulses;           /**< Ukupno impulsa od boot-a */
    uint32_t session_pulses;         /**< Impulsi u trenutnoj sesiji */
    uint32_t mux_errors;             /**< MUX greške */
    uint32_t dac_errors;             /**< DAC greške */
    uint32_t timing_violations;      /**< Timing prekršaji */
    uint32_t recoveries;             /**< Automatski recovery-ji */
    uint32_t uptime_ms;              /**< Vreme rada thread-a (ms) */
    uint8_t  current_pattern;        /**< Aktivni pattern indeks */
    uint8_t  current_channel;        /**< Trenutni kanal (0-7) */
    uint16_t last_amplitude_ua;      /**< Poslednja DAC amplitude (µA) */
    bool     hardware_ok;            /**< Overall hardware status */
} impulse_diagnostics_t;

int get_impulse_diagnostics(impulse_diagnostics_t *info);

#ifdef __cplusplus
}
#endif

#endif /* IMPULSE_H */
```

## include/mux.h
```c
#ifndef MUX_H
#define MUX_H

#include <zephyr/device.h>
#include <zephyr/devicetree.h>
#include <zephyr/drivers/spi.h>
#include <zephyr/drivers/gpio.h>
#include <stdbool.h>
#include <stdint.h>

#define MUX_SPI1_DEV   DEVICE_DT_GET(DT_NODELABEL(spi1))
#define MUX_GPIO_DEV  DEVICE_DT_GET(DT_NODELABEL(gpio0))
#define STIM_MUX_NUM_CHANNELS 16
#define STIM_MUX_SPI_DEV   MUX_SPI1_DEV
#define STIM_MUX_GPIO_DEV  MUX_GPIO_DEV
#define STIM_MUX_LE_PIN    1
#define STIM_MUX_CLR_PIN   0



/**
 * @brief Configuration parameters for the MUX controller
 */
struct mux_config {
    const struct device *spi_dev;   /**< SPI controller device */
    struct spi_config spi_config;
    const struct device *gpio_dev;  /**< GPIO controller device */
    uint8_t le_pin;                 /**< Latch enable pin number */
    uint8_t clr_pin;                /**< Clear pin number */
    uint8_t num_channels; // number of channels
};

#ifdef __cplusplus
extern "C" {
#endif

/**
 * @brief Initialize the multiplexer interface
 *
 * @param config Pointer to mux_config
 * @return 0 on success, negative errno on failure
 */
int mux_init(struct mux_config *config);

/**
 * @brief Write a buffer to the multiplexer over SPI
 *
 * @param config   Pointer to mux_config
 * @param buff_ptr Pointer to data buffer
 * @param buff_len Length of data buffer
 * @return 0 on success, negative errno on failure
 */
int mux_write(struct mux_config *config, uint8_t *buff_ptr, uint8_t buff_len);

/**
 * @brief Set or clear the multiplexer output
 *
 * @param config Pointer to mux_config
 * @param clear  If true, clear output; else assert output
 * @return 0 on success, negative errno on failure
 */
int mux_set_clr(struct mux_config *config, int state);

/**
 * @brief Set or clear the multiplexer output
 *
 * @param config Pointer to mux_config
 * @param clear  If true, clear output; else assert output
 * @return 0 on success, negative errno on failure
 */
 int mux_set_le(struct mux_config *config, int state);

 int mux_set_single_channel(struct mux_config *config, int channel, int state);

#ifdef __cplusplus
}
#endif

#endif /* MUX_H */
```

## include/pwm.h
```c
#ifndef PWM_CTRL_H
#define PWM_CTRL_H

#include <zephyr/device.h>
#include <zephyr/drivers/pwm.h>
#include <zephyr/kernel.h>

/* Inicijalizacija PWM uređaja */
int pwm_ctrl_init(void);

/* Kanal 0 (PWM0/CH0 → P0.31, 10 kHz @ 40%) */
void pwm_ch0_start(void);
void pwm_ch0_stop(void);

/* Kanal 1 (PWM1/CH0 → P0.28, 8 kHz @ 1%) */
void pwm_ch1_start(void);
void pwm_ch1_stop(void);

#endif /* PWM_CTRL_H */
```

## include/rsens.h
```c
// // rsens.h
// #ifndef RSENS_H
// #define RSENS_H

// #include <stdbool.h>
// #include <zephyr/kernel.h>
// #include <zephyr/device.h>
// #include <zephyr/drivers/adc.h>
// #include <zephyr/sys/util.h>

// #ifdef __cplusplus
// extern "C" {
// #endif

// void rsens_init(void);
// /* Javi RSENS modulu novo stanje katode (poziva impulse.c) */
// void rsens_on_cathode_set(bool high);
// void read_rsens(void);

// /* DODATO: omogući čitanje poslednjeg merenja u mV */
// int32_t rsens_get_last_measurement(void);

// #ifdef __cplusplus
// }
// #endif
// #endif
```

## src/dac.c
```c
#include "dac.h"
#include <zephyr/drivers/gpio.h>


#define I2C_DEV_NODE DT_NODELABEL(i2c0)
static const struct device *i2c_dev = DEVICE_DT_GET(I2C_DEV_NODE);



int dac_init(void)
{
    if (!device_is_ready(i2c_dev)) {
        printk("I2C device not ready\n");
        return -ENODEV;
    }
    return 0;
}

void dac_set_value(uint16_t value)
{
    if (value > 0x03FF) {
        value = 0x03FF;
    }

    uint8_t buffer[3];
    buffer[0] = 0x40;
    buffer[1] = (value >> 2) & 0xFF;
    buffer[2] = (value & 0x03) << 6;

    int ret = i2c_write(i2c_dev, buffer, sizeof(buffer), DAC_ADDR);
    if (ret < 0) {
        printk("DAC write error (val=%u, err=%d)\n", value, ret);
    }

    
}
```

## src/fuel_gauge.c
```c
#include <zephyr/kernel.h>
#include <zephyr/device.h>
#include <zephyr/drivers/i2c.h>
#include <stdio.h>
#include <stdlib.h>
#include "ble_nus.h"

static const struct i2c_dt_spec bq = I2C_DT_SPEC_GET(DT_NODELABEL(fuelgauge));

#define BQ_REG_TEMP            0x06
#define BQ_REG_VOLTAGE         0x08
#define BQ_REG_AVG_CURRENT     0x0C
#define BQ_REG_STATE_OF_CHARGE 0x2C

#define FG_REPORT_PERIOD_SEC   10

static inline void bq_tbuf_delay(void) { k_busy_wait(70); }

static int bq_read_u16(uint8_t reg, uint16_t *out)
{
    uint8_t buf[2];
    int ret = i2c_write_read_dt(&bq, &reg, 1, buf, 2);  // <-- robustnije
    if (ret) return ret;
    *out = ((uint16_t)buf[1] << 8) | buf[0];            
    return 0;
}

static int bq_read_soc_pct(uint8_t *pct_out)
{
    uint8_t reg = BQ_REG_STATE_OF_CHARGE;
    uint8_t one = 0;
    int ret = i2c_write_read_dt(&bq, &reg, 1, &one, 1);
    if (ret) return ret;
    if (one > 100) one = 100;
    *pct_out = one;
    return 0;
}

static int bq_read_soc_raw_bytes(uint8_t *lsb, uint8_t *msb)
{
    uint8_t reg = BQ_REG_STATE_OF_CHARGE;
    uint8_t buf[2] = {0};
    int ret = i2c_write_read_dt(&bq, &reg, 1, buf, 2);
    if (ret) return ret;
    *lsb = buf[0];
    *msb = buf[1];
    return 0;
}

void bq27220_read_basic(void)
{
    if (!device_is_ready(bq.bus)) {
        send_response("FUEL: not ready (bus)\r\n");
        return;
    }

    uint16_t mv = 0, t_01K = 0;
    int16_t i_ma = 0;
    uint8_t soc_pct = 0;

    int r1 = bq_read_u16(BQ_REG_VOLTAGE, &mv);
    bq_tbuf_delay();

    /* ČITAMO 1 BAJT kao procenat */
    int r2 = bq_read_soc_pct(&soc_pct);
    bq_tbuf_delay();

    int r3 = bq_read_u16(BQ_REG_TEMP, &t_01K);
    bq_tbuf_delay();
    int r4 = bq_read_u16(BQ_REG_AVG_CURRENT, &i_ma);

    if (r1 || r2 || r3 || r4) {
        char e[64];
        snprintk(e, sizeof(e), "FUEL: err v=%d soc=%d t=%d i=%d\r\n", r1, r2, r3, r4);
        send_response(e);
        return;
    }

    /* (opciono) heks-debug da vidimo šta dolazi u oba bajta 0x1C */
    uint8_t lsb=0, msb=0;
    if (bq_read_soc_raw_bytes(&lsb, &msb) == 0) {
        char dbg[48];
        snprintk(dbg, sizeof(dbg), "FUEL: SOC bytes LSB=0x%02X MSB=0x%02X\r\n", lsb, msb);
        send_response(dbg);
    }

    int32_t t_x10c = (int32_t)t_01K - 2731; /* 0.1°C */

    char out[96];
    snprintk(out, sizeof(out),
             "FUEL: %u mV, %u %% SOC, %d.%d C, %d mA\r\n",
             mv, soc_pct, (int)(t_x10c/10), (int)abs(t_x10c%10), (int)i_ma);
    send_response(out);
}

int fuel_gauge_get_soc(uint16_t *soc)
{
    uint16_t raw;
    int ret = bq_read_u16(BQ_REG_STATE_OF_CHARGE, &raw);
    if (ret) return ret;

    *soc = raw;   // već u procentima (0–100)
    printk("fuel_gauge_get_soc: raw=0x%04X -> %u %%\n", raw, (unsigned)*soc);
    return 0;
}

/* ===== NOVO: periodicni k_work koji se startuje iz init-a ===== */
static struct k_work_delayable fg_work;
static bool fg_work_started;

static void fg_work_handler(struct k_work *work)
{
    ARG_UNUSED(work);
    /* Pozovi postojeću funkciju koja šalje podatke */
    bq27220_read_basic();

    /* Samorescheduluj za sledeći ciklus */
    k_work_schedule(&fg_work, K_SECONDS(FG_REPORT_PERIOD_SEC));
}

void bq27220_init(void)
{
    if (!device_is_ready(bq.bus)) {
        send_response("FUEL: I2C bus not ready\r\n");
        return;
    }

    /* Jednokratna provera čitanja pri init-u (opciono) */
    uint16_t mv = 0;
    int ret = bq_read_u16(BQ_REG_VOLTAGE, &mv);
    if (ret == 0) {
        send_response("FUEL: raw init OK\r\n");
    } else {
        char msg[48];
        snprintk(msg, sizeof(msg), "FUEL: raw init E=%d\r\n", ret);
        send_response(msg);
    }

    /* Startuj periodično slanje iz init-a (samo jednom) */
    if (!fg_work_started) {
        k_work_init_delayable(&fg_work, fg_work_handler);
        /* Prvi put odmah, sledeći put na FG_REPORT_PERIOD_SEC */
        k_work_schedule(&fg_work, K_NO_WAIT);
        fg_work_started = true;
    }
}
```
